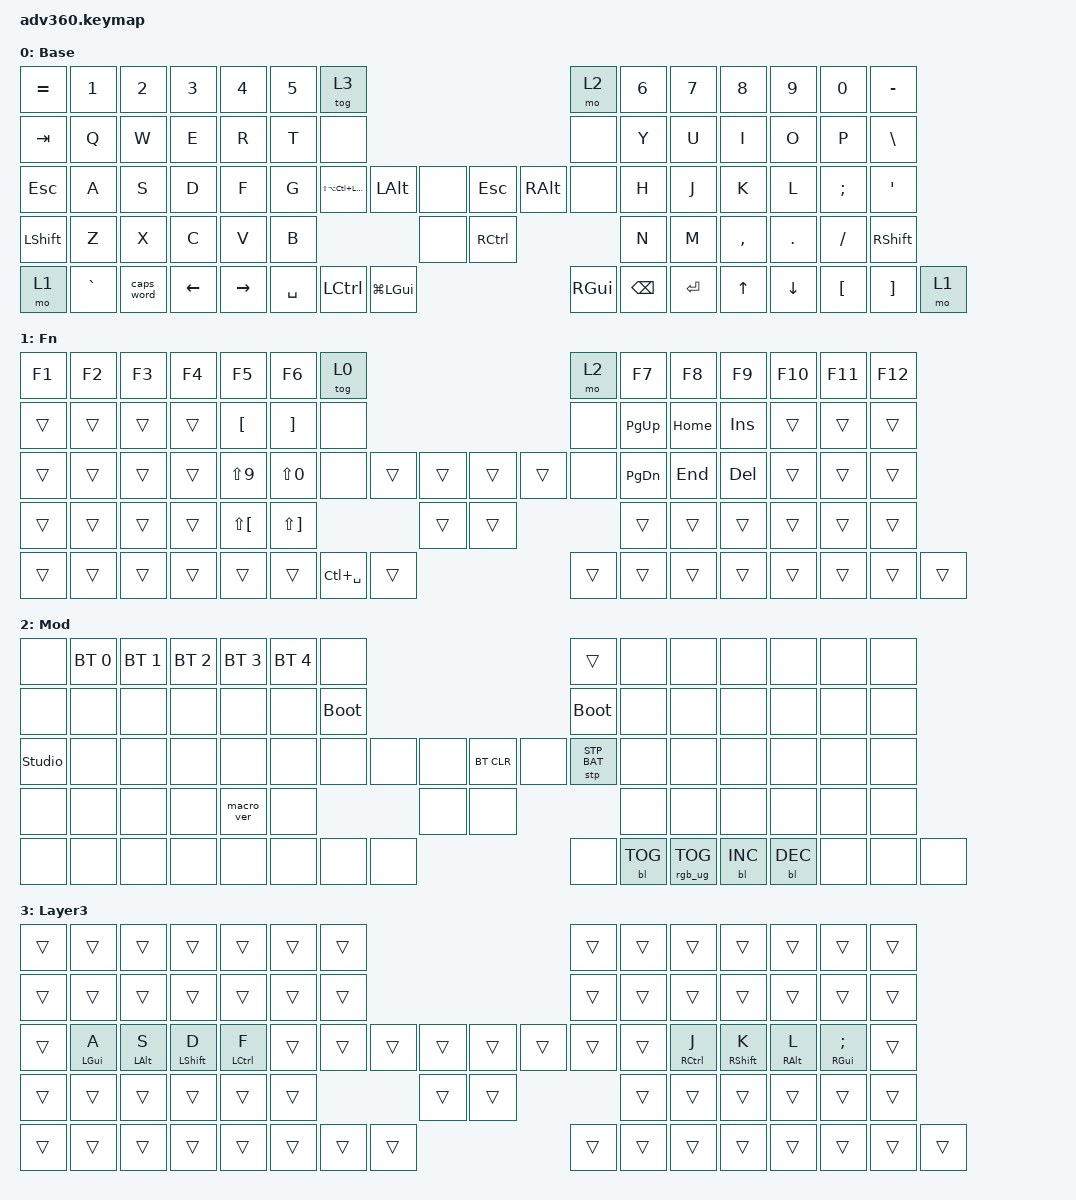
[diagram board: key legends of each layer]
#include <dt-bindings/zmk/stp.h>
#include <behaviors.dtsi>
#include <dt-bindings/zmk/backlight.h>
#include <dt-bindings/zmk/bt.h>
#include <dt-bindings/zmk/keys.h>
#include <dt-bindings/zmk/rgb.h>

/ {
    behaviors {
        #include "macros.dtsi"
      #include "version.dtsi"

        hm: homerow_mods {
            compatible = "zmk,behavior-hold-tap";
            label = "HOMEROW_MODS";
            #binding-cells = <2>;
            tapping-term-ms = <200>;
            quick_tap_ms = <175>;
            flavor = "tap-preferred";
            bindings = <&kp>, <&kp>;
        };

        HML: HML {
            compatible = "zmk,behavior-hold-tap";
            label = "HML";
            bindings = <&kp>, <&kp>;

            #binding-cells = <2>;
            flavor = "balanced";
            tapping-term-ms = <280>;
            quick-tap-ms = <175>;
            require-prior-idle-ms = <150>;
            hold-trigger-key-positions = <7 8 9 10 11 12 13 21 22 23 24 25 26 27 37 38 39 40 41 42 43 44 45 53 54 55 56 57 58 59 68 69 70 71 72 73 74 75 35 36 52 65 66 67>;
            hold-trigger-on-release;
        };

        HMR: HMR {
            compatible = "zmk,behavior-hold-tap";
            label = "HMR";
            bindings = <&kp>, <&kp>;

            #binding-cells = <2>;
            flavor = "balanced";
            tapping-term-ms = <280>;
            quick-tap-ms = <175>;
            require-prior-idle-ms = <150>;
            hold-trigger-on-release;
            hold-trigger-key-positions = <0 1 2 3 4 5 6 14 15 16 17 18 19 20 28 29 30 31 32 33 34 35 36 46 47 48 49 50 51 52 60 61 62 63 64 65 66 67 37 53 68 69 70 38>;
        };
    };

    combos {
        compatible = "zmk,combos";

        esc {
            bindings = <&kp ESCAPE>;
            key-positions = <41 42>;
        };
    };

    keymap {
        compatible = "zmk,keymap";

        default_layer {
            display-name = "Base";
            bindings = <
&kp EQUAL  &kp N1           &kp N2           &kp N3             &kp N4           &kp N5  &tog 3                                                                                              &mo 2    &kp N6  &kp N7        &kp N8              &kp N9            &kp N0               &kp MINUS
&kp TAB    &kp Q            &kp W            &kp E              &kp R            &kp T   &none                                                                                               &none    &kp Y   &kp U         &kp I               &kp O             &kp P                &kp BSLH
&kp ESC    &kp A            &kp S            &kp D              &kp F             &kp G   &kp LS(LA(LC(LEFT_GUI)))  &kp LEFT_ALT      &none                 &kp ESCAPE         &kp RIGHT_ALT  &none    &kp H   &kp J          &kp K               &kp L             &kp SEMI             &kp SQT
&kp LSHFT  &kp Z            &kp X            &kp C              &kp V            &kp B                                               &none                 &kp RIGHT_CONTROL                          &kp N   &kp M         &kp COMMA           &kp DOT           &kp FSLH             &kp RSHFT
&mo 1      &kp GRAVE        &caps_word       &kp LEFT_ARROW     &kp RIGHT_ARROW          &kp SPACE                 &kp LEFT_CONTROL  &kp LG(LEFT_GUI)      &kp RIGHT_GUI      &kp BACKSPACE  &kp RET          &kp UP_ARROW  &kp DOWN_ARROW      &kp LBKT          &kp RBKT             &mo 1
            >;
        };

        fn {
            display-name = "Fn";
            bindings = <
&kp F1  &kp F2  &kp F3  &kp F4  &kp F5                &kp F6                 &tog 0                                       &mo 2   &kp F7         &kp F8    &kp F9      &kp F10  &kp F11  &kp F12
&trans  &trans  &trans  &trans  &kp LEFT_BRACKET      &kp RIGHT_BRACKET      &none                                        &none   &kp PAGE_UP    &kp HOME  &kp INSERT  &trans   &trans   &trans
&trans  &trans  &trans  &trans  &kp LS(N9)            &kp LS(N0)             &none   &trans   &trans      &trans  &trans  &none   &kp PAGE_DOWN  &kp END   &kp DEL     &trans   &trans   &trans
&trans  &trans  &trans  &trans  &kp LS(LEFT_BRACKET)  &kp LS(RIGHT_BRACKET)                   &trans      &trans                  &trans         &trans    &trans      &trans   &trans   &trans
&trans  &trans  &trans  &trans  &trans                                       &trans  &kp LC(SPACE)  &trans      &trans  &trans  &trans                 &trans    &trans      &trans   &trans   &trans
            >;
        };

        mod {
            display-name = "Mod";
            bindings = <
&none           &bt BT_SEL 0  &bt BT_SEL 1  &bt BT_SEL 2  &bt BT_SEL 3  &bt BT_SEL 4  &none                                                  &trans           &none  &none       &none       &none  &none  &none
&none           &none         &none         &none         &none         &none         &bootloader                                            &bootloader      &none  &none       &none       &none  &none  &none
&studio_unlock  &none         &none         &none         &none         &none         &none        &none  &none      &bt BT_CLR  &none       &stp STP_BAT     &none  &none       &none       &none  &none  &none
&none           &none         &none         &none         &macro_ver    &none                             &none      &none                                    &none  &none       &none       &none  &none  &none
&none           &none         &none         &none         &none                       &none        &none  &none      &none       &bl BL_TOG  &rgb_ug RGB_TOG         &bl BL_INC  &bl BL_DEC  &none  &none  &none
            >;
        };

        gaming {
            display-name = "Layer3";
            bindings = <
&trans  &trans  &trans  &trans  &trans  &trans  &trans                                      &trans  &trans  &trans  &trans  &trans  &trans    &trans
&trans  &trans  &trans  &trans  &trans  &trans  &trans                                      &trans  &trans  &trans  &trans  &trans  &trans    &trans
&trans  &HML LEFT_GUI A  &HML LEFT_ALT S  &HML LEFT_SHIFT D  &HML LCTRL F  &trans  &trans  &trans  &trans      &trans  &trans  &trans  &trans  &HMR RCTRL J  &HMR RIGHT_SHIFT K  &HMR RIGHT_ALT L  &HMR RIGHT_GUI SEMI  &trans
&trans  &trans  &trans  &trans  &trans  &trans                  &trans      &trans                  &trans  &trans  &trans  &trans  &trans    &trans
&trans  &trans  &trans  &trans  &trans          &trans  &trans  &trans      &trans  &trans  &trans          &trans  &trans  &trans  &trans    &trans
            >;
        };

        extra2 {
            display-name = "Purple";
            status = "reserved";
        };

        extra3 {
            display-name = "Cyan";
            status = "reserved";
        };

        extra4 {
            display-name = "Yellow";
            status = "reserved";
        };
    };
};
